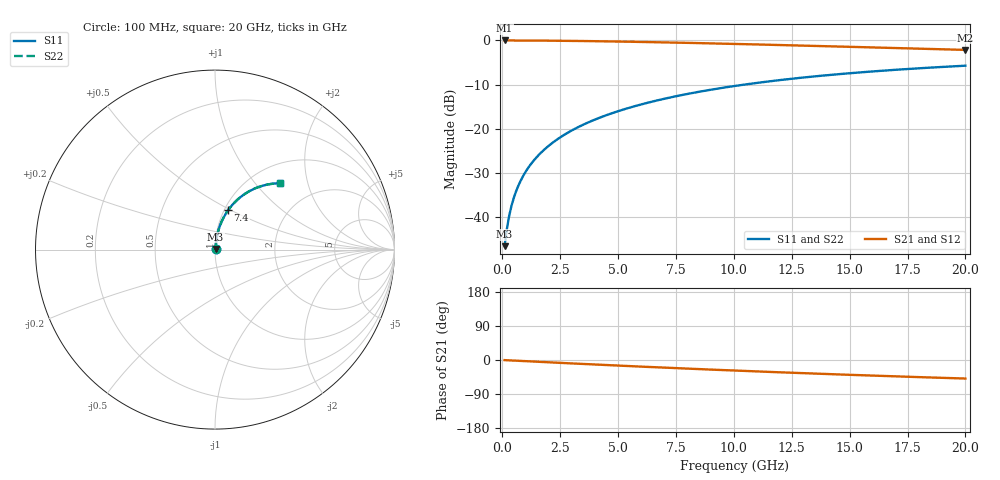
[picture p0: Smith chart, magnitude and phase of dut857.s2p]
! Touchstone file exported from HFSS 2024.1.0
!  File:  C:/UserFiles/LocalFiles/RDL_TSV_Batchsim/temp_RDL_top_857_1779855919.aedt
!  Generated:  12:27:51 PM May 27, 2026
!  Design:  RDL_top
!  Project:  temp_RDL_top_857_1779855919
!  Setup:  Setup1
!  Solution:  Sweep
! Variables:
!  dtsv = 10.80580581um
!  hbump = 3um
!  htsv = 56.58um
!  ldown = 100um
!  lrdl = 646.5um
!  p = 40
!  p1 = 59.23um
!  rhole = 1um
!  t = 450um
!  tdown = 3.915915916um
!  trdl = 4.86um
!  wdown = 15.38538539um
!  wrdl = 14.38um
# GHz S MA R 50.000000
! Terminal data exported
! Port[1] = Box2_T1
! Port[2] = Box2_T2
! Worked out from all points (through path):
!   200 points, 100 MHz to 20 GHz, reference 50 ohm
!   highest |S21| = -0.03 dB at 100 MHz (marker M1); lowest = -2.2 dB at 20 GHz (marker M2)
!   group delay of S21, straight-line fit = 6.78 ps
!   lowest |S11| = -46.5 dB at 100 MHz (marker M3), VSWR 1.01, Z = 50.3 + j0.334 ohm
!   |S11| at or under -10 dB: start of sweep to 10.46 GHz
!   |S22| runs from -46.5 to -5.7 dB; largest |S21 - S12| = 7.7e-15
!   S11 on the Smith chart (normalised r, x): 100 MHz: 1.01, +0.01; 7.4 GHz: 1.04, +0.48; 20 GHz: 1.35, +1.36
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0.1  0.004716 44.7  0.9966 -0.3  0.9966 -0.3  0.004716 44.7
! Gamma 0 0 0 0
! Port Impedance 50 0 50 0
0.2  0.007453 62.3  0.9965 -0.6  0.9965 -0.6  0.007453 62.3
0.3  0.01047 69.8  0.9964 -0.9  0.9964 -0.9  0.01047 69.8
0.4  0.01357 73.8  0.9962 -1.2  0.9962 -1.2  0.01357 73.8
0.5  0.01669 76.2  0.9961 -1.5  0.9961 -1.5  0.01669 76.2
0.6  0.01982 77.9  0.9959 -1.8  0.9959 -1.8  0.01982 77.9
0.8  0.02612 79.9  0.9955 -2.4  0.9955 -2.4  0.02612 79.9
1.1  0.03561 81.3  0.9947 -3.4  0.9947 -3.4  0.03561 81.3
1.5  0.0483 81.9  0.9934 -4.6  0.9934 -4.6  0.0483 81.9
1.8  0.05783 81.9  0.9922 -5.5  0.9922 -5.5  0.05783 81.9
2.1  0.06734 81.8  0.9908 -6.4  0.9908 -6.4  0.06734 81.8
2.7  0.08633 81.0  0.9875 -8.1  0.9875 -8.1  0.08633 81.1
3.5  0.1115 79.7  0.982 -10.5  0.982 -10.5  0.1115 79.8
4.2  0.1334 78.4  0.9763 -12.5  0.9763 -12.5  0.1334 78.4
5  0.1581 76.8  0.969 -14.7  0.969 -14.7  0.1581 76.8
6.8  0.2127 73.0  0.9502 -19.6  0.9502 -19.6  0.2127 73.0
7.4  0.2304 71.7  0.9433 -21.2  0.9433 -21.2  0.2305 71.7
8.7  0.2679 68.8  0.9277 -24.5  0.9277 -24.5  0.2679 68.8
10.1  0.3065 65.6  0.91 -28.0  0.91 -28.0  0.3066 65.7
13.4  0.3892 58.5  0.8661 -35.7  0.8661 -35.7  0.3893 58.5
16.7  0.4591 51.8  0.8219 -42.6  0.8219 -42.6  0.4592 51.8
20  0.5166 45.6  0.7794 -48.9  0.7794 -48.9  0.5167 45.7
